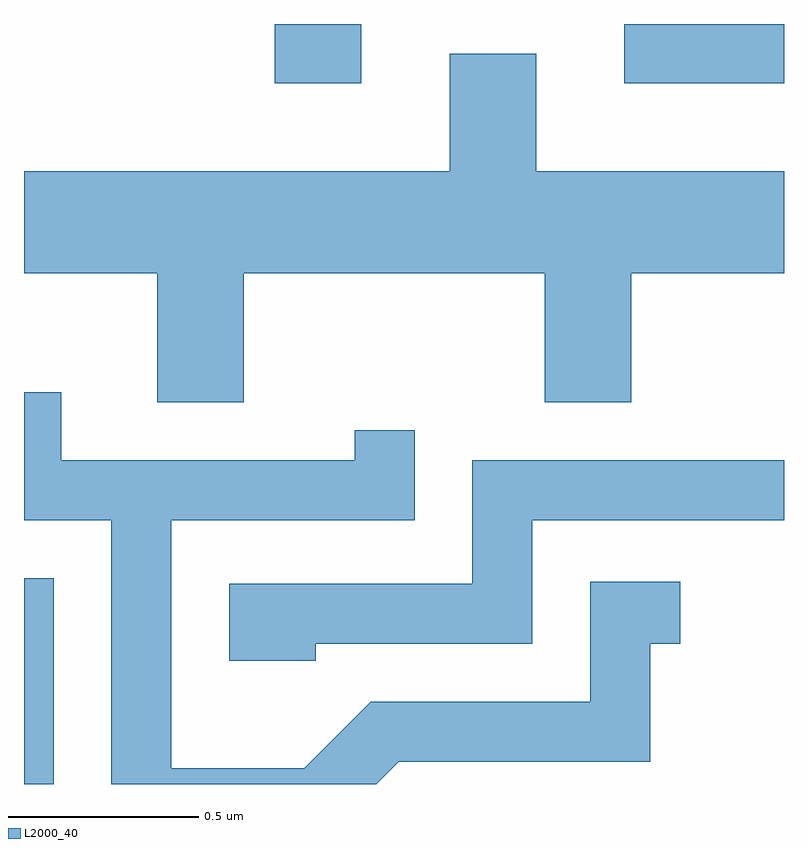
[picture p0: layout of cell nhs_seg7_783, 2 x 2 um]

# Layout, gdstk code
import gdstk
lib = gdstk.Library(unit=1e-6, precision=1e-09)
def R(c, l, rs):  # rectangles x0, y0, x1, y1
    for r in rs: c.add(gdstk.rectangle(r[:2], r[2:], *l))
def P(c, l, *ps):  # polygons
    for p in ps: c.add(gdstk.Polygon(p, *l))
L2000_40 = (2000, 40)

nhs_seg7_783 = lib.new_cell('nhs_seg7_783')
R(nhs_seg7_783, L2000_40, [(190.611,1766.252,190.689,1766.794), (191.271,1768.096,191.499,1768.252), (192.191,1768.096,192.611,1768.252)])
P(nhs_seg7_783, L2000_40, [(191.189,1767.596),(191.981,1767.596),(191.981,1767.256),(192.209,1767.256),(192.209,1767.596),(192.611,1767.596),(192.611,1767.864),(191.959,1767.864),(191.959,1768.174),(191.731,1768.174),(191.731,1767.864),(190.611,1767.864),(190.611,1767.596),(190.961,1767.596),(190.961,1767.256),(191.189,1767.256)],
  [(191.597,1766.311),(192.259,1766.311),(192.259,1766.621),(192.338,1766.621),(192.338,1766.784),(192.101,1766.784),(192.101,1766.469),(191.524,1766.469),(191.349,1766.294),(190.999,1766.294),(190.999,1766.946),(191.639,1766.946),(191.639,1767.183),(191.481,1767.183),(191.481,1767.104),(190.709,1767.104),(190.709,1767.283),(190.611,1767.283),(190.611,1766.946),(190.841,1766.946),(190.841,1766.252),(191.538,1766.252)],
  [(191.379,1766.621),(191.949,1766.621),(191.949,1766.946),(192.611,1766.946),(192.611,1767.104),(191.791,1767.104),(191.791,1766.779),(191.151,1766.779),(191.151,1766.576),(191.379,1766.576)])

lib.write_gds('nhs_seg7_783.gds')
